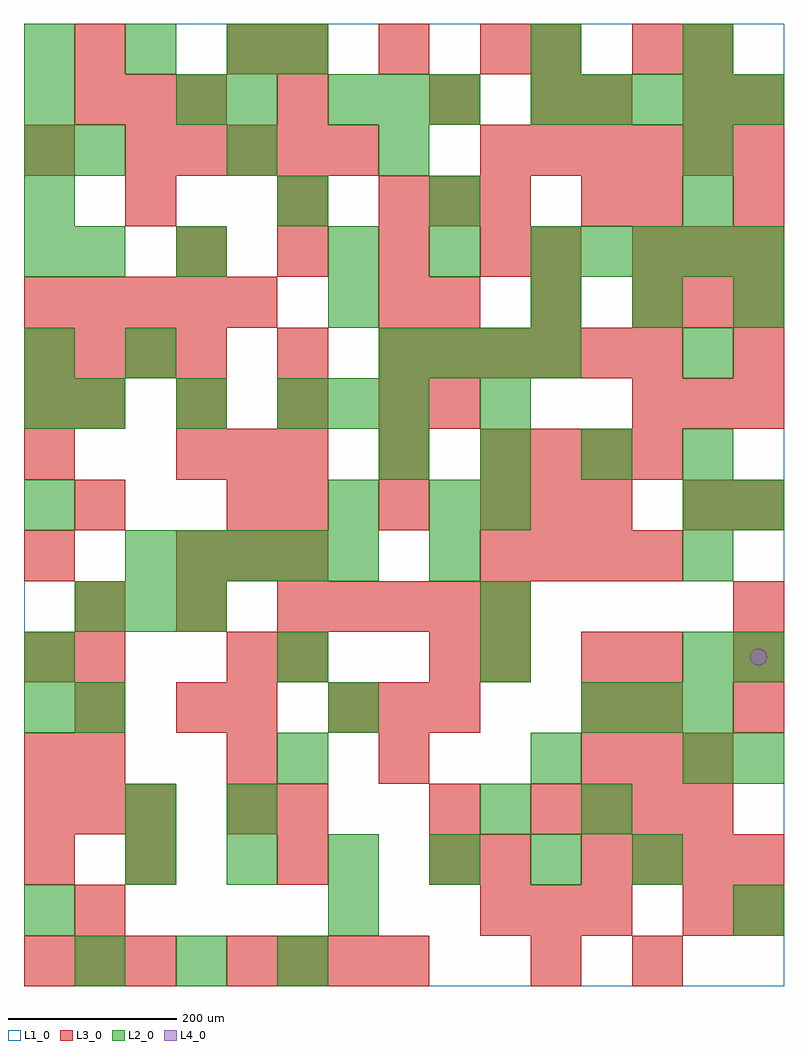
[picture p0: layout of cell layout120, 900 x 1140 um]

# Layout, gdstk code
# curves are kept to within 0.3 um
import gdstk
lib = gdstk.Library(unit=1e-6, precision=1e-09)
def R(c, l, rs):  # rectangles x0, y0, x1, y1
    for r in rs: c.add(gdstk.rectangle(r[:2], r[2:], *l))
def A(c, l, x, y, w, h, nx, ny, dx, dy):  # array of equal rectangles
    R(c, l, [(x+i*dx, y+j*dy, x+i*dx+w, y+j*dy+h) for i in range(nx) for j in range(ny)])
def P(c, l, *ps):  # polygons
    for p in ps: c.add(gdstk.Polygon(p, *l))
L1_0 = (1, 0)
L2_0 = (2, 0)
L3_0 = (3, 0)
L4_0 = (4, 0)

layout120 = lib.new_cell('layout120')
R(layout120, L1_0, [(0,0,900,1140)])
A(layout120, L2_0, 60, 0, 60, 60, 3, 2, 120, 660)
A(layout120, L2_0, 120, 120, 60, 60, 6, 1, 120, 0)
A(layout120, L2_0, 60, 300, 60, 60, 3, 1, 300, 0)
A(layout120, L2_0, 300, 360, 60, 60, 3, 1, 240, 0)
A(layout120, L2_0, 60, 420, 60, 60, 3, 1, 60, 0)
A(layout120, L2_0, 540, 420, 60, 60, 1, 3, 0, 120)
A(layout120, L2_0, 120, 480, 60, 60, 5, 1, 60, 0)
A(layout120, L2_0, 360, 540, 60, 60, 1, 3, 0, 120)
A(layout120, L2_0, 780, 540, 60, 60, 1, 3, 0, 180)
A(layout120, L2_0, 420, 600, 60, 60, 4, 1, 120, 0)
A(layout120, L2_0, 420, 720, 60, 60, 4, 1, 60, 0)
A(layout120, L2_0, 600, 780, 60, 60, 3, 1, 120, 0)
A(layout120, L2_0, 0, 840, 60, 60, 1, 4, 0, 60)
A(layout120, L2_0, 360, 840, 60, 60, 3, 1, 120, 0)
A(layout120, L2_0, 660, 840, 60, 60, 4, 1, 60, 0)
A(layout120, L2_0, 60, 960, 60, 60, 3, 1, 180, 0)
A(layout120, L2_0, 360, 1020, 60, 60, 3, 1, 60, 0)
A(layout120, L2_0, 600, 1020, 60, 60, 5, 1, 60, 0)
A(layout120, L2_0, 0, 1080, 60, 60, 3, 1, 120, 0)
R(layout120, L2_0, [(0,60,60,120), (360,60,420,120), (840,60,900,120), (120,180,180,240), (240,180,300,240), (540,180,600,240), (660,180,720,240), (300,240,360,300), (600,240,660,300), (780,240,840,300), (840,240,900,300), (0,300,60,360), (720,300,780,360), (780,300,840,360), (0,360,60,420), (840,360,900,420), (480,480,540,540), (780,480,840,540), (0,540,60,600), (480,540,540,600), (840,540,900,600), (0,660,60,720), (420,660,480,720), (0,720,60,780), (120,720,180,780), (60,840,120,900), (180,840,240,900), (300,900,360,960), (480,900,540,960), (780,960,840,1020), (180,1020,240,1080), (240,1020,300,1080), (300,1080,360,1140), (600,1080,660,1140), (780,1080,840,1140)])
A(layout120, L3_0, 0, 0, 60, 60, 3, 2, 60, 180)
A(layout120, L3_0, 240, 0, 60, 60, 4, 1, 60, 0)
A(layout120, L3_0, 540, 60, 60, 60, 3, 1, 60, 0)
A(layout120, L3_0, 0, 120, 60, 60, 1, 5, 0, 120)
A(layout120, L3_0, 120, 120, 60, 60, 3, 1, 180, 0)
A(layout120, L3_0, 660, 120, 60, 60, 4, 1, 60, 0)
A(layout120, L3_0, 600, 180, 60, 60, 4, 1, 60, 0)
A(layout120, L3_0, 60, 240, 60, 60, 3, 1, 180, 0)
A(layout120, L3_0, 660, 240, 60, 60, 3, 1, 60, 0)
A(layout120, L3_0, 360, 300, 60, 60, 3, 1, 60, 0)
A(layout120, L3_0, 840, 300, 60, 60, 1, 3, 0, 60)
A(layout120, L3_0, 60, 420, 60, 60, 3, 1, 120, 0)
A(layout120, L3_0, 360, 420, 60, 60, 4, 1, 60, 0)
A(layout120, L3_0, 180, 480, 60, 60, 3, 2, 60, 120)
A(layout120, L3_0, 540, 480, 60, 60, 4, 2, 60, 120)
A(layout120, L3_0, 300, 540, 60, 60, 3, 2, 120, 540)
A(layout120, L3_0, 780, 540, 60, 60, 1, 3, 0, 240)
A(layout120, L3_0, 60, 660, 60, 60, 4, 1, 120, 0)
A(layout120, L3_0, 720, 660, 60, 60, 3, 2, 60, 180)
A(layout120, L3_0, 0, 720, 60, 60, 4, 1, 60, 0)
A(layout120, L3_0, 420, 720, 60, 60, 6, 1, 60, 0)
A(layout120, L3_0, 0, 780, 60, 60, 5, 1, 60, 0)
A(layout120, L3_0, 480, 780, 60, 60, 3, 1, 120, 0)
A(layout120, L3_0, 840, 780, 60, 60, 1, 3, 0, 120)
A(layout120, L3_0, 180, 840, 60, 60, 4, 1, 120, 0)
A(layout120, L3_0, 420, 900, 60, 60, 3, 1, 60, 0)
A(layout120, L3_0, 120, 960, 60, 60, 5, 1, 60, 0)
A(layout120, L3_0, 540, 960, 60, 60, 6, 1, 60, 0)
A(layout120, L3_0, 60, 1020, 60, 60, 3, 1, 60, 0)
R(layout120, L3_0, [(600,0,660,60), (720,0,780,60), (60,60,120,120), (780,60,840,120), (840,60,900,120), (540,120,600,180), (240,180,300,240), (300,180,360,240), (480,180,540,240), (60,300,120,360), (180,300,240,360), (240,300,300,360), (660,300,720,360), (720,300,780,360), (60,360,120,420), (240,360,300,420), (300,360,360,420), (480,360,540,420), (540,360,600,420), (660,360,720,420), (720,360,780,420), (60,540,120,600), (240,540,300,600), (600,540,660,600), (660,540,720,600), (840,540,900,600), (420,600,480,660), (0,660,60,720), (480,660,540,720), (300,720,360,780), (840,720,900,780), (420,780,480,840), (600,840,660,900), (120,900,180,960), (300,900,360,960), (660,900,720,960), (720,900,780,960), (0,960,60,1020), (300,1020,360,1080), (480,1020,540,1080), (600,1020,660,1080), (660,1020,720,1080), (60,1080,120,1140), (240,1080,300,1140), (600,1080,660,1140), (720,1080,780,1140), (780,1080,840,1140)])
P(layout120, L4_0, [(880,390),(879.239,393.827),(877.071,397.071),(873.827,399.239),(870,400),(866.173,399.239),(862.929,397.071),(860.761,393.827),(860,390),(860.761,386.173),(862.929,382.929),(866.173,380.761),(870,380),(873.827,380.761),(877.071,382.929),(879.239,386.173)])

lib.write_gds('layout120.gds')
